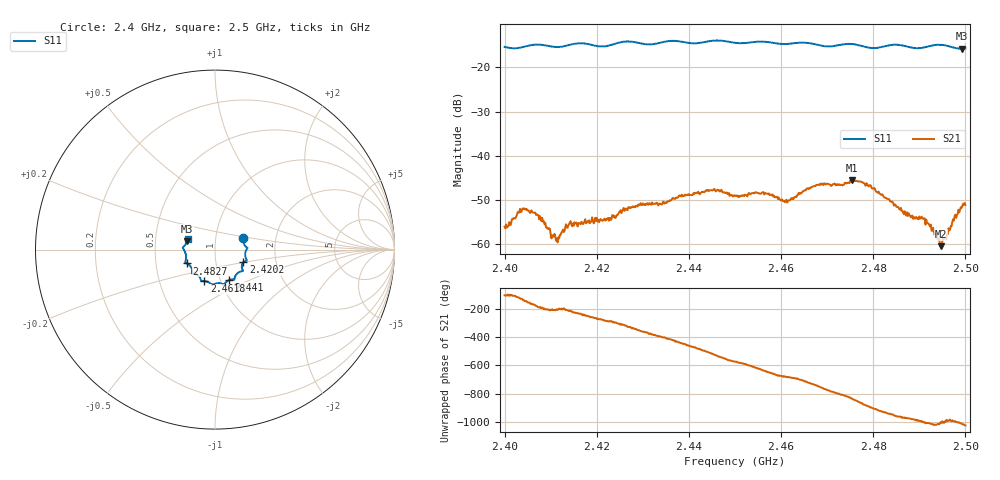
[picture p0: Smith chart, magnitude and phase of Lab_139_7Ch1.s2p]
# Hz S RI R 50
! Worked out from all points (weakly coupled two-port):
!   601 points, 2.4 GHz to 2.5 GHz, reference 50 ohm
!   highest |S21| = -45.46 dB at 2.4753 GHz (marker M1); lowest = -60.4 dB at 2.4947 GHz (marker M2)
!   lowest |S11| = -15.8 dB at 2.4992 GHz (marker M3), VSWR 1.39, Z = 36.4 + j3.64 ohm
!   |S11| at or under -10 dB: start of sweep to end of sweep
!   S12 and S22 are empty: the file has one direction only
!   S11 on the Smith chart (normalised r, x): 2.4 GHz: 1.36, +0.18; 2.4202 GHz: 1.36, -0.20; 2.441 GHz: 1.10, -0.39; 2.4618 GHz: 0.84, -0.30; 2.4827 GHz: 0.72, -0.12; 2.5 GHz: 0.73, +0.09
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2.4e9  0.1585 0.0629  -0.000332 -0.00155  0 0  0 0
2.404333e9  0.1708 0.0175  -0.00197 -0.00151  0 0  0 0
2.406833e9  0.1807 0.00918  -0.00215 -8.63e-05  0 0  0 0
2.411333e9  0.1685 -0.0202  -0.00108 0.000433  0 0  0 0
2.413833e9  0.1717 -0.0475  -0.00142 0.000803  0 0  0 0
2.416667e9  0.1771 -0.0609  -0.00107 0.00145  0 0  0 0
2.420167e9  0.1586 -0.0712  -0.000119 0.00181  0 0  0 0
2.433333e9  0.1114 -0.1508  0.00229 -0.00152  0 0  0 0
2.441e9  0.0788 -0.1698  -0.00126 -0.00358  0 0  0 0
2.445167e9  0.0516 -0.1935  -0.00373 -0.00162  0 0  0 0
2.45e9  0.0283 -0.1875  -0.00302 0.00193  0 0  0 0
2.456333e9  -0.0172 -0.1945  0.000447 0.00364  0 0  0 0
2.461833e9  -0.0592 -0.1755  0.00253 0.00185  0 0  0 0
2.466667e9  -0.0789 -0.1684  0.00438 -0.000846  0 0  0 0
2.475333e9  -0.1274 -0.1327  -0.00218 -0.00487  0 0  0 0
2.482667e9  -0.1562 -0.0773  -0.00283 0.00182  0 0  0 0
2.483333e9  -0.1605 -0.0752  -0.00237 0.0022  0 0  0 0
2.487e9  -0.1635 -0.0597  -0.000617 0.00217  0 0  0 0
2.491e9  -0.1676 -0.0119  0.000442 0.00191  0 0  0 0
2.494667e9  -0.1796 0.0114  0.000186 0.000935  0 0  0 0
2.499167e9  -0.1549 0.0487  0.00101 0.00238  0 0  0 0
2.5e9  -0.1522 0.0607  0.00161 0.00227  0 0  0 0
